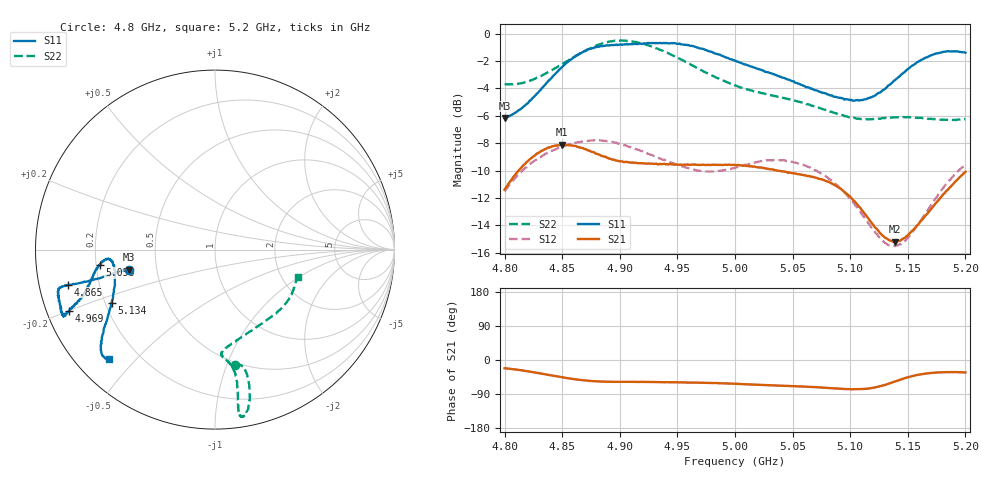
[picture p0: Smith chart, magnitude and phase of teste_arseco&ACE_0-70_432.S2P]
! Network Analyzer HP8722D
! Hewlett-Packard
! Data name: Linha & Wilkinson
! Saver's name: Rodrigo Anjos
! Comments: Teste da utilização de aquisição
! continua pelo VNA HP8722D
! Time and date: 8/5/2025 16:21
!  Frequency  S11  S21  S12  S22
# HZ  S  MA R 50
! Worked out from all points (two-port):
!   401 points, 4.8 GHz to 5.2 GHz, reference 50 ohm
!   highest |S21| = -8.10 dB at 4.85 GHz (marker M1); lowest = -15.2 dB at 5.139 GHz (marker M2)
!   |S21| within 3 dB of the highest: 4.802 GHz to 5.088 GHz (285.3 MHz wide, 5.77 % of centre); 5.187898 GHz to end of sweep
!   lowest |S11| = -6.2 dB at 4.8 GHz (marker M3), VSWR 2.94, Z = 17.2 - j5.04 ohm
!   |S11| at or under -10 dB: nowhere
!   |S22| runs from -6.3 to -0.5 dB; largest |S21 - S12| = 0.62
!   S11 on the Smith chart (normalised r, x): 4.8 GHz: 0.34, -0.10; 4.865 GHz: 0.09, -0.12; 4.969 GHz: 0.06, -0.20; 5.058 GHz: 0.21, -0.06; 5.134 GHz: 0.22, -0.23; 5.2 GHz: 0.09, -0.42
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4.8e9  0.492 -167.0  0.2696 -21.8  0.2657 -143.0  0.6549 -80.2
4.821e9  0.5628 -166.9  0.3455 -30.1  0.3317 -146.5  0.6704 -76.6
4.85e9  0.7553 -166.1  0.3934 -45.6  0.3871 -151.6  0.7736 -75.8
4.865e9  0.8445 -166.6  0.3848 -52.3  0.4022 -153.8  0.8434 -76.7
4.867e9  0.8521 -166.2  0.383 -53.0  0.4039 -154.0  0.8524 -76.8
4.88e9  0.8929 -166.2  0.3643 -56.4  0.4084 -155.9  0.9059 -78.1
4.898e9  0.9074 -163.5  0.3437 -57.7  0.3972 -157.7  0.9417 -80.2
4.916e9  0.9155 -159.9  0.3366 -57.8  0.3767 -158.0  0.9261 -81.7
4.934e9  0.9233 -157.0  0.334 -58.4  0.3515 -156.4  0.8751 -81.5
4.969e9  0.8837 -157.1  0.3313 -59.9  0.316 -148.1  0.7427 -80.6
5e9  0.796 -160.0  0.3314 -62.8  0.3245 -138.4  0.6463 -82.1
5.036e9  0.7048 -166.9  0.3169 -67.4  0.3462 -136.0  0.5898 -86.5
5.058e9  0.649 -172.5  0.3058 -70.0  0.3323 -138.0  0.5605 -85.0
5.067e9  0.6294 -174.1  0.3006 -71.1  0.3218 -138.8  0.5459 -82.8
5.084e9  0.5957 -175.0  0.2841 -74.3  0.2901 -140.3  0.5184 -75.7
5.101e9  0.5735 -171.2  0.2512 -77.2  0.2464 -140.0  0.4942 -65.3
5.116e9  0.582 -163.7  0.2111 -75.2  0.203 -135.0  0.4869 -54.5
5.134e9  0.6489 -152.7  0.1761 -61.7  0.1688 -117.5  0.4931 -42.7
5.139e9  0.6764 -150.2  0.1742 -56.5  0.1678 -110.7  0.4949 -39.8
5.151e9  0.746 -145.3  0.186 -44.9  0.1818 -96.1  0.4958 -33.6
5.172e9  0.8386 -139.4  0.2342 -33.7  0.2434 -81.5  0.4878 -24.5
5.2e9  0.8511 -134.2  0.3131 -32.8  0.3318 -78.5  0.4876 -18.0
